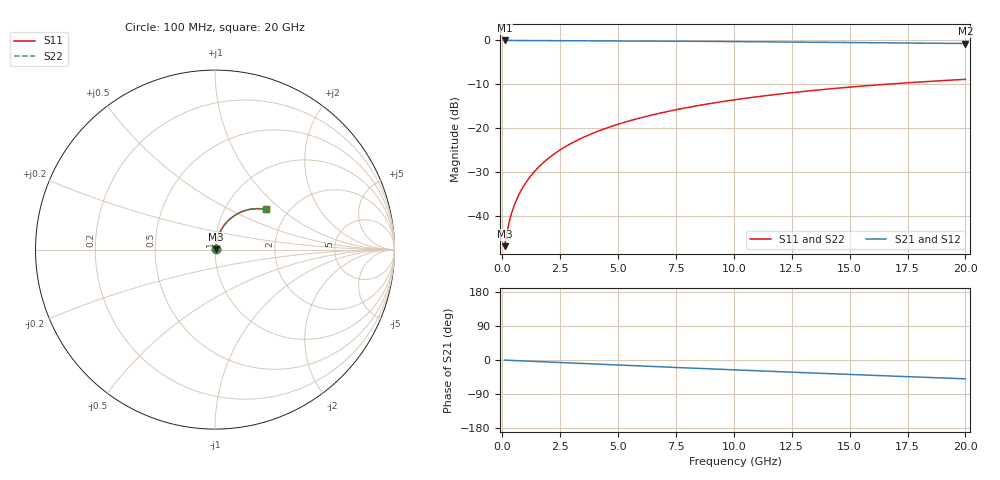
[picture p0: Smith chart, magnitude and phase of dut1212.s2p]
! Touchstone file exported from HFSS 2026.1.0
!  File:  C:/ffzhzh/LocalFiles/Ansys_Project_Files/temp_train_TMRDL_1212_1783163178_22436.aedt
!  Generated:  07:07:33 PM Jul  4, 2026
!  Design:  TMRDL
!  Project:  temp_train_TMRDL_1212_1783163178_22436
! Variables:
!  h_bsmrdl = 2um
!  h_ox = 20um
!  h_rdl = 5um
!  h_sub = 80um
!  h_tmrdl = 3.18um
!  h_tsv = 80um
!  h_via = 3um
!  l_bsmrdl = 300um
!  l_sub = 1185.65um
!  l_tmrdl = 785.65um
!  m_sub = 200um
!  pitch = 44.64um
!  r_tsv = 6um
!  s_tmrdl = 10um
!  w_bsmrdl = 18um
!  w_sub = 500um
!  w_tmrdl = 25.16um
!  x_tsv_center1 = 798.23um
!  x_tsv_center2 = 1116.23um
!  x_tsv_center3 = 1927.04um
!  x_tsv_center4 = 2245.04um
!  x_tsv_center5 = 3055.85um
!  x_tsv_center6 = 3373.85um
# GHz S MA R 50.000000
! Terminal data exported
! Port[1] = TM_RDL1_1_T1
! Port[2] = TM_RDL1_1_T2
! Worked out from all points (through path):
!   200 points, 100 MHz to 20 GHz, reference 50 ohm
!   highest |S21| = -0.03 dB at 100 MHz (marker M1); lowest = -0.7 dB at 20 GHz (marker M2)
!   group delay of S21, straight-line fit = 6.9 ps
!   lowest |S11| = -46.8 dB at 100 MHz (marker M3), VSWR 1.01, Z = 50.4 + j0.264 ohm
!   |S11| at or under -10 dB: start of sweep to 16.56 GHz
!   |S22| runs from -46.8 to -8.9 dB; largest |S21 - S12| = 2.8e-15
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0.1  0.004565 35.0  0.9963 -0.3  0.9963 -0.3  0.004565 35.0
! Gamma 0 0 0 0
! Port Impedance 50 0 50 0
0.2  0.006496 52.0  0.996 -0.6  0.996 -0.6  0.006496 52.0
0.3  0.008637 60.0  0.9958 -0.8  0.9958 -0.8  0.008637 60.0
0.4  0.01079 64.7  0.9955 -1.1  0.9955 -1.1  0.01079 64.7
0.5  0.01293 67.8  0.9953 -1.4  0.9953 -1.4  0.01293 67.8
0.6  0.01506 70.0  0.9952 -1.6  0.9952 -1.6  0.01506 70.0
0.8  0.01936 73.1  0.9949 -2.2  0.9949 -2.2  0.01936 73.1
1.1  0.02588 75.7  0.9946 -3.0  0.9946 -3.0  0.02588 75.7
1.3  0.03027 76.6  0.9944 -3.5  0.9944 -3.5  0.03027 76.6
1.6  0.03689 77.4  0.9941 -4.3  0.9941 -4.3  0.03689 77.4
2.1  0.04795 77.8  0.9934 -5.6  0.9934 -5.6  0.04795 77.8
2.7  0.06121 77.4  0.9924 -7.2  0.9924 -7.2  0.06121 77.4
3.5  0.07877 76.2  0.9908 -9.3  0.9908 -9.3  0.07877 76.2
4.2  0.09396 74.9  0.9891 -11.2  0.9891 -11.2  0.09396 74.9
5  0.1111 73.1  0.9868 -13.3  0.9868 -13.3  0.1111 73.1
5.9  0.1299 71.1  0.984 -15.6  0.984 -15.6  0.1299 71.1
6.8  0.1484 69.0  0.9808 -17.9  0.9808 -17.9  0.1484 68.9
8.3  0.1781 65.4  0.9749 -21.7  0.9749 -21.7  0.1781 65.4
10.1  0.2119 61.0  0.9672 -26.2  0.9672 -26.2  0.2119 61.0
13.4  0.2687 53.3  0.9517 -34.3  0.9517 -34.3  0.2687 53.3
16.7  0.3181 45.7  0.9356 -42.1  0.9356 -42.1  0.3181 45.7
20  0.3601 38.4  0.9199 -49.7  0.9199 -49.7  0.3601 38.4
